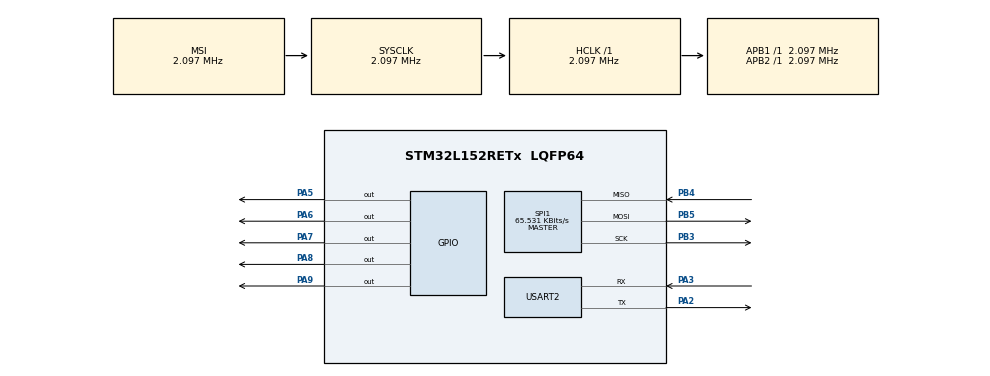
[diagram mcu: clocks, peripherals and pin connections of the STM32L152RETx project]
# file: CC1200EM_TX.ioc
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Mcu.Family=STM32L1
Mcu.Name=STM32L152RETx
Mcu.Package=LQFP64
NVIC.PriorityGroup=NVIC_PRIORITYGROUP_4
PA2.Mode=Asynchronous
PA2.Signal=USART2_TX
PA3.Mode=Asynchronous
PA3.Signal=USART2_RX
PA5.Signal=GPIO_Output
PA6.Signal=GPIO_Output
PA7.Signal=GPIO_Output
PA8.Signal=GPIO_Output
PA9.Signal=GPIO_Output
PB3.Mode=Full_Duplex_Master
PB3.Signal=SPI1_SCK
PB4.Mode=Full_Duplex_Master
PB4.Signal=SPI1_MISO
PB5.Mode=Full_Duplex_Master
PB5.Signal=SPI1_MOSI
ProjectManager.HeapSize=0x200
ProjectManager.StackSize=0x400
ProjectManager.TargetToolchain=MDK-ARM V5
RCC.AHBFreq_Value=2097000
RCC.APB1Freq_Value=2097000
RCC.APB2Freq_Value=2097000
RCC.HSE_VALUE=24000000
RCC.HSI_VALUE=16000000
RCC.LSE_VALUE=32768
RCC.MSI_VALUE=2097000
RCC.SYSCLKFreq_VALUE=2097000
RCC.VCOOutputFreq_Value=48000000
SPI1.BaudRatePrescaler=SPI_BAUDRATEPRESCALER_32
SPI1.CalculateBaudRate=65.531 KBits/s
SPI1.Direction=SPI_DIRECTION_2LINES
SPI1.Mode=SPI_MODE_MASTER
SPI1.VirtualType=VM_MASTER
USART2.VirtualMode=VM_ASYNC
board=custom

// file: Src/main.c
/* USER CODE BEGIN Header */
/**
  ******************************************************************************
  * @file           : main.c
  * @brief          : Main program body
  ******************************************************************************
  *
  *  CC1200 SPI Test Harness
	*
	* Wiring:
	* Reset -- D7 (PA8)
	* CSN   -- D8 (PA9)
	* SCLK  -- D3 (PB3)
	* MOSI  -- D4 (PB5)
	* MISO  -- D5 (PB4)
	*
	* Use this test harness to check the operation of the CC1200 module
	*
	* The following tests and settings can be configured:
	*
  *
  ******************************************************************************
  */
/* USER CODE END Header */

#include "main.h"

/* USER CODE BEGIN Includes */

#include "string.h"
#include "CC1200_SPI_Functions.h"
/* USER CODE END Includes */

/* USER CODE BEGIN PD */
// Pins
#define CSN GPIO_PIN_9
#define RESET GPIO_PIN_8

// Tests
#define READ_WRITE_TEST
//#define COMMAND_STROBE_TEST

#define TX_TEST (1)
#define RX_TEST (0)

/* USER CODE END PD */

SPI_HandleTypeDef hspi1;

UART_HandleTypeDef huart2;

void SystemClock_Config(void);
static void MX_GPIO_Init(void);
static void MX_SPI1_Init(void);
static void MX_USART2_UART_Init(void);

int main(void)
{

  /* MCU Configuration--------------------------------------------------------*/

  /* Reset of all peripherals, Initializes the Flash interface and the Systick. */
  HAL_Init();

  /* Configure the system clock */
  SystemClock_Config();

  /* Initialize all configured peripherals */
  MX_GPIO_Init();
  MX_SPI1_Init();
  MX_USART2_UART_Init();
  /* USER CODE BEGIN 2 */
///////////////////////////////////////////////////////////////////////
	// CSN and RESET setup
	///////////////////////////////////////////////////////////////////////

	//Set CS high
	HAL_GPIO_WritePin(GPIOA, CSN, GPIO_PIN_SET);

	//Set reset high, low, high to begin
	HAL_GPIO_WritePin(GPIOA, RESET, GPIO_PIN_SET);
	HAL_Delay(10);
	HAL_GPIO_WritePin(GPIOA, RESET, GPIO_PIN_RESET);
	HAL_Delay(10);
	HAL_GPIO_WritePin(GPIOA, RESET, GPIO_PIN_SET);
	HAL_Delay(10);

	///////////////////////////////////////////////////////////////////////
	// Start the test
	///////////////////////////////////////////////////////////////////////

	uint16_t address = 0x2F02;
	uint8_t value = 0xa;
	uint8_t readValue = 0;
	char Msg1[100] = {0};
	char Msg2[100] = {0};

	///////////////////////////////////////////////////////////////////////
	// Test: send a packet continuously and receive with the dev board
	///////////////////////////////////////////////////////////////////////
  // Configure the chip
	CC1200_INIT(&hspi1);

	#if TX_TEST
	readValue = 0;
	address = CC1200_TXFIFO;
	uint32_t sendAmt = 6*50;
	uint8_t txValue = 0;

	uint16_t count = 0;
	uint16_t countErr = 0;

	for(int i = 0; i < sendAmt; i++)
	{
		// Read num_tx_bytes
		txValue = ReadWriteExtendedReg (&hspi1, CC1200_READ_BIT, CC1200_NUM_TXBYTES, value);
		if (txValue < 128)
		{
			ReadWriteExtendedReg(&hspi1, CC1200_WRITE_BIT, address, i);
			HAL_Delay(1);
		}
		else
		{
			HAL_Delay(1);
			i--;
			//continue;
		}

		readValue = ReadWriteCommandReg(&hspi1, CC1200_SNOP); // Seems to need HAL_Delay and a NOP to produce the correct status bit
		HAL_Delay(8);

		if (readValue == 0x7f)
		{
			countErr++;
			ReadWriteCommandReg(&hspi1, CC1200_SFTX); // Flush if FIFO error
			continue;
		}
		else if ((readValue & 0xf0) != 0x20)
		{
			ReadWriteCommandReg(&hspi1, CC1200_STX);
			count++;
			HAL_Delay(1);
		}
	}

	// Check for errors again to make sure everything transmits properly
	txValue = ReadWriteExtendedReg (&hspi1, CC1200_READ_BIT, CC1200_NUM_TXBYTES, value);
	while (txValue != 0)
	{
		memcpy(Msg1, Msg2, 70);
		snprintf((char *)Msg1, sizeof(Msg1), "\r\nNumber of bytes in the transmit buffer: 0x%02x\r\n", txValue);
		HAL_UART_Transmit(&huart2, (uint8_t *) Msg1, sizeof(Msg1), 1);

		readValue = ReadWriteCommandReg(&hspi1, CC1200_SNOP); // Seems to need HAL_Delay and a NOP to produce the correct status bit
		HAL_Delay(8);

		if ((readValue & 0xf0) != 0x20)
		{
			ReadWriteCommandReg(&hspi1, CC1200_STX);
			count++;
			HAL_Delay(1);
		}
		txValue = ReadWriteExtendedReg (&hspi1, CC1200_READ_BIT, CC1200_NUM_TXBYTES, value);
	}
	#endif

	// Test receiving
	#if RX_TEST

	uint8_t rxBuffer[70] = {0}; // Initialize a buffer to read the data
	ReadWriteCommandReg(&hspi1, CC1200_SFRX); // Flush RX FIFO
	ReadWriteCommandReg(&hspi1, CC1200_SRX);  // Enter receive mode

	uint8_t doneCount = 0;
	uint16_t numRXBytes = 0;
	address = CC1200_RXFIFO;

	while (doneCount < 1) // less than 1 because we expect only one packet
	{
		// Get the number of bytes in the RX FIFO
		numRXBytes = ReadWriteExtendedReg (&hspi1, CC1200_READ_BIT, CC1200_NUM_RXBYTES, value);
		memcpy(Msg1, Msg2, 100);
		snprintf((char *)Msg1, 100, "\r\nNumber of bytes in the receive buffer: 0x%02x    State of CC1200: 0x%02x\r\n", numRXBytes, readValue);
		HAL_UART_Transmit(&huart2, (uint8_t *) Msg1, sizeof(Msg1), 1);

		// If there is a full packet, read it
		if (numRXBytes >= 19)
		{
			doneCount++;
			for (int i = 0; i < 19; i++)
			{
				rxBuffer[i * doneCount] = ReadWriteExtendedReg(&hspi1, CC1200_READ_BIT, address, 0);
			}
		}

		// Check the state of the chip in the event that an error occurred
		readValue = ReadWriteCommandReg(&hspi1, CC1200_SNOP);
		HAL_Delay(8);

		if (readValue == 0x6f) // Flush if FIFO error
		{
			ReadWriteCommandReg(&hspi1, CC1200_SFRX);
		}
		else if ((readValue & 0xf0) != 0x10) // Re-enter transmit mode if there was a FIFO error
		{
			ReadWriteCommandReg(&hspi1, CC1200_SRX);
		}
	}

	// Print out each value read
	memcpy(Msg1, Msg2, 100);
	int j = 0;
	int i = 0;
	# if 0 // This is for decoding length 6 hex packets
	for (i = 0; i < 90; i += 15)
	{
		snprintf((char *) &Msg1[i], 15, "\r\nData: 0x%02x\r\n", rxBuffer[j++]);
	}
	HAL_UART_Transmit(&huart2, (uint8_t *) Msg1, 100*sizeof(uint8_t), 1);
	#else // This is for decoding length 19 text packets
	memcpy(Msg1, Msg2, 100);
	snprintf((char *) &Msg1[i], 10, "\r\nPacket:         ");
	for (i = 11; i < 90; i++)
	{
		snprintf((char *) &Msg1[i], 2, "%c", (char) rxBuffer[j++]);
	}
	snprintf((char *) &Msg1[++i], 2, "\r\n");
	HAL_UART_Transmit(&huart2, (uint8_t *) Msg1, 100*sizeof(uint8_t), 1);

	#endif
	#endif

	// End the test
	memcpy(Msg1, Msg2, 100);
	snprintf((char *)Msg1, sizeof(Msg1), "\n\nEND OF TRANSCEIVER TEST \n");
	HAL_UART_Transmit(&huart2, (uint8_t *) Msg1, sizeof(Msg1), 1);

  /* USER CODE END 2 */

  /* Infinite loop */
  while (1)
  {

  }
}

void SystemClock_Config(void)
{
  RCC_OscInitTypeDef RCC_OscInitStruct = {0};
  RCC_ClkInitTypeDef RCC_ClkInitStruct = {0};

  /** Configure the main internal regulator output voltage
  */
  __HAL_PWR_VOLTAGESCALING_CONFIG(PWR_REGULATOR_VOLTAGE_SCALE1);
  /** Initializes the CPU, AHB and APB busses clocks
  */
  RCC_OscInitStruct.OscillatorType = RCC_OSCILLATORTYPE_MSI;
  RCC_OscInitStruct.MSIState = RCC_MSI_ON;
  RCC_OscInitStruct.MSICalibrationValue = 0;
  RCC_OscInitStruct.MSIClockRange = RCC_MSIRANGE_5;
  RCC_OscInitStruct.PLL.PLLState = RCC_PLL_NONE;
  if (HAL_RCC_OscConfig(&RCC_OscInitStruct) != HAL_OK)
  {
    Error_Handler();
  }
  /** Initializes the CPU, AHB and APB busses clocks
  */
  RCC_ClkInitStruct.ClockType = RCC_CLOCKTYPE_HCLK|RCC_CLOCKTYPE_SYSCLK
                              |RCC_CLOCKTYPE_PCLK1|RCC_CLOCKTYPE_PCLK2;
  RCC_ClkInitStruct.SYSCLKSource = RCC_SYSCLKSOURCE_MSI;
  RCC_ClkInitStruct.AHBCLKDivider = RCC_SYSCLK_DIV1;
  RCC_ClkInitStruct.APB1CLKDivider = RCC_HCLK_DIV1;
  RCC_ClkInitStruct.APB2CLKDivider = RCC_HCLK_DIV1;

  if (HAL_RCC_ClockConfig(&RCC_ClkInitStruct, FLASH_LATENCY_0) != HAL_OK)
  {
    Error_Handler();
  }
}

static void MX_SPI1_Init(void)
{

  /* SPI1 parameter configuration*/
  hspi1.Instance = SPI1;
  hspi1.Init.Mode = SPI_MODE_MASTER;
  hspi1.Init.Direction = SPI_DIRECTION_2LINES;
  hspi1.Init.DataSize = SPI_DATASIZE_8BIT;
  hspi1.Init.CLKPolarity = SPI_POLARITY_LOW;
  hspi1.Init.CLKPhase = SPI_PHASE_1EDGE;
  hspi1.Init.NSS = SPI_NSS_SOFT;
  hspi1.Init.BaudRatePrescaler = SPI_BAUDRATEPRESCALER_32;
  hspi1.Init.FirstBit = SPI_FIRSTBIT_MSB;
  hspi1.Init.TIMode = SPI_TIMODE_DISABLE;
  hspi1.Init.CRCCalculation = SPI_CRCCALCULATION_DISABLE;
  hspi1.Init.CRCPolynomial = 10;
  if (HAL_SPI_Init(&hspi1) != HAL_OK)
  {
    Error_Handler();
  }

}

static void MX_USART2_UART_Init(void)
{

  huart2.Instance = USART2;
  huart2.Init.BaudRate = 115200;
  huart2.Init.WordLength = UART_WORDLENGTH_8B;
  huart2.Init.StopBits = UART_STOPBITS_1;
  huart2.Init.Parity = UART_PARITY_NONE;
  huart2.Init.Mode = UART_MODE_TX_RX;
  huart2.Init.HwFlowCtl = UART_HWCONTROL_NONE;
  huart2.Init.OverSampling = UART_OVERSAMPLING_16;
  if (HAL_UART_Init(&huart2) != HAL_OK)
  {
    Error_Handler();
  }

}

static void MX_GPIO_Init(void)
{
  GPIO_InitTypeDef GPIO_InitStruct = {0};

  /* GPIO Ports Clock Enable */
  __HAL_RCC_GPIOA_CLK_ENABLE();
  __HAL_RCC_GPIOB_CLK_ENABLE();

  /*Configure GPIO pin Output Level */
  HAL_GPIO_WritePin(GPIOA, GPIO_PIN_5|GPIO_PIN_6|GPIO_PIN_7|GPIO_PIN_8
                          |GPIO_PIN_9, GPIO_PIN_RESET);

  /*Configure GPIO pins : PA5 PA6 PA7 PA8
                           PA9 */
  GPIO_InitStruct.Pin = GPIO_PIN_5|GPIO_PIN_6|GPIO_PIN_7|GPIO_PIN_8
                          |GPIO_PIN_9;
  GPIO_InitStruct.Mode = GPIO_MODE_OUTPUT_PP;
  GPIO_InitStruct.Pull = GPIO_NOPULL;
  GPIO_InitStruct.Speed = GPIO_SPEED_FREQ_LOW;
  HAL_GPIO_Init(GPIOA, &GPIO_InitStruct);

}

void Error_Handler(void)
{
}

/************************ (C) COPYRIGHT STMicroelectronics *****END OF FILE****/
